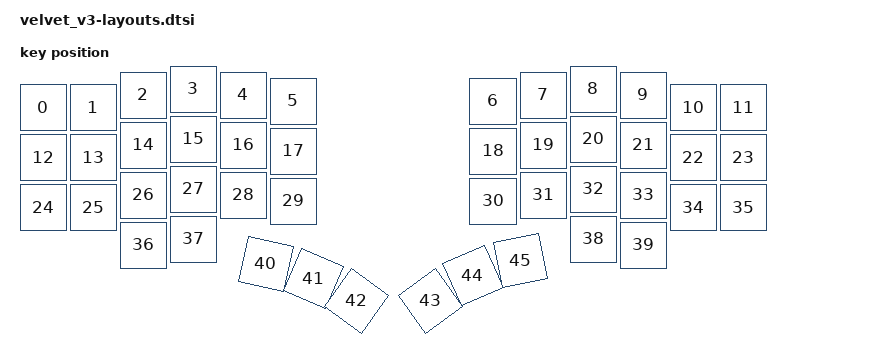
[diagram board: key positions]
#include <physical_layouts.dtsi>

/ {
    default_layout: default_layout {
        compatible = "zmk,physical-layout";
        display-name = "Default Layout";

        kscan = <&kscan0>;
        transform = <&matrix_transform0>;

        keys  //                     w   h    x    y     rot    rx    ry
            = <&key_physical_attrs 100 100    0   37       0     0     0>
            , <&key_physical_attrs 100 100  100   37       0     0     0>
            , <&key_physical_attrs 100 100  200   12       0     0     0>
            , <&key_physical_attrs 100 100  300    0       0     0     0>
            , <&key_physical_attrs 100 100  400   12       0     0     0>
            , <&key_physical_attrs 100 100  500   24       0     0     0>
            , <&key_physical_attrs 100 100  900   24       0     0     0>
            , <&key_physical_attrs 100 100 1000   12       0     0     0>
            , <&key_physical_attrs 100 100 1100    0       0     0     0>
            , <&key_physical_attrs 100 100 1200   12       0     0     0>
            , <&key_physical_attrs 100 100 1300   37       0     0     0>
            , <&key_physical_attrs 100 100 1400   37       0     0     0>
            , <&key_physical_attrs 100 100    0  137       0     0     0>
            , <&key_physical_attrs 100 100  100  137       0     0     0>
            , <&key_physical_attrs 100 100  200  112       0     0     0>
            , <&key_physical_attrs 100 100  300  100       0     0     0>
            , <&key_physical_attrs 100 100  400  112       0     0     0>
            , <&key_physical_attrs 100 100  500  124       0     0     0>
            , <&key_physical_attrs 100 100  900  124       0     0     0>
            , <&key_physical_attrs 100 100 1000  112       0     0     0>
            , <&key_physical_attrs 100 100 1100  100       0     0     0>
            , <&key_physical_attrs 100 100 1200  112       0     0     0>
            , <&key_physical_attrs 100 100 1300  137       0     0     0>
            , <&key_physical_attrs 100 100 1400  137       0     0     0>
            , <&key_physical_attrs 100 100    0  237       0     0     0>
            , <&key_physical_attrs 100 100  100  237       0     0     0>
            , <&key_physical_attrs 100 100  200  212       0     0     0>
            , <&key_physical_attrs 100 100  300  200       0     0     0>
            , <&key_physical_attrs 100 100  400  212       0     0     0>
            , <&key_physical_attrs 100 100  500  224       0     0     0>
            , <&key_physical_attrs 100 100  900  224       0     0     0>
            , <&key_physical_attrs 100 100 1000  212       0     0     0>
            , <&key_physical_attrs 100 100 1100  200       0     0     0>
            , <&key_physical_attrs 100 100 1200  212       0     0     0>
            , <&key_physical_attrs 100 100 1300  237       0     0     0>
            , <&key_physical_attrs 100 100 1400  237       0     0     0>
            , <&key_physical_attrs 100 100  200  312       0     0     0>
            , <&key_physical_attrs 100 100  300  300       0     0     0>
            , <&key_physical_attrs 100 100 1100  300       0     0     0>
            , <&key_physical_attrs 100 100 1200  312       0     0     0>
            , <&key_physical_attrs 100 100  440  362    1200   550   433>
            , <&key_physical_attrs 100 100  540  383    2400   600   433>
            , <&key_physical_attrs 100 100  640  383    3600   620   433>
            , <&key_physical_attrs 100 100  760  390 (-3600)   870   433>
            , <&key_physical_attrs 100 100  860  390 (-2400)   870   433>
            , <&key_physical_attrs 100 100  960  372 (-1200)   870   433>
            ;
    };
};
